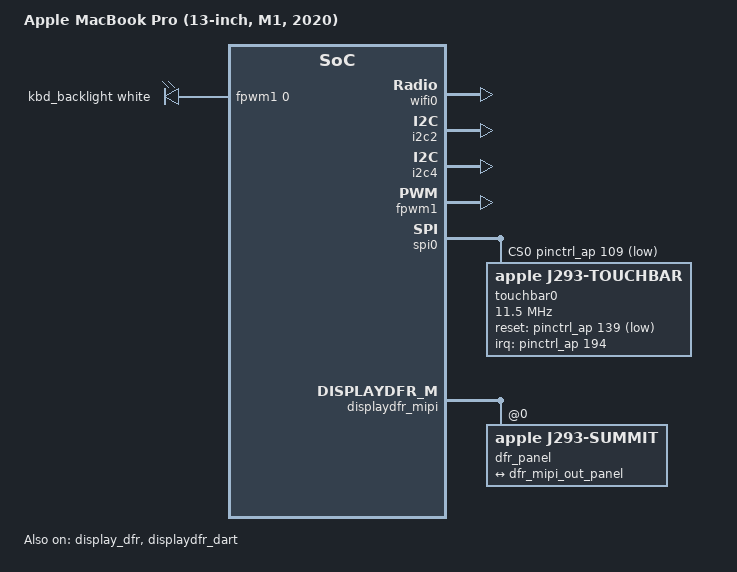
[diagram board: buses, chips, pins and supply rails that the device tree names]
// SPDX-License-Identifier: GPL-2.0+ OR MIT
/*
 * Apple MacBook Pro (13-inch, M1, 2020)
 *
 * target-type: J293
 *
 * Copyright The Asahi Linux Contributors
 */

/dts-v1/;

#include "t8103.dtsi"
#include "t8103-jxxx.dtsi"
#include <dt-bindings/leds/common.h>

/ {
	compatible = "apple,j293", "apple,t8103", "apple,arm-platform";
	model = "Apple MacBook Pro (13-inch, M1, 2020)";

	/*
	 * All of those are used by the bootloader to pass calibration
	 * blobs and other device-specific properties
	 */
	aliases {
		touchbar0 = &touchbar0;
	};

	led-controller {
		compatible = "pwm-leds";
		led-0 {
			pwms = <&fpwm1 0 40000>;
			label = "kbd_backlight";
			function = LED_FUNCTION_KBD_BACKLIGHT;
			color = <LED_COLOR_ID_WHITE>;
			max-brightness = <255>;
			default-state = "keep";
		};
	};
};

&bluetooth0 {
	brcm,board-type = "apple,honshu";
};

&wifi0 {
	brcm,board-type = "apple,honshu";
};

&i2c2 {
	status = "okay";
};

&i2c4 {
	status = "okay";
};

&fpwm1 {
	status = "okay";
};

&spi0 {
	cs-gpios = <&pinctrl_ap 109 GPIO_ACTIVE_LOW>;
	status = "okay";

	touchbar0: touchbar@0 {
		compatible = "apple,j293-touchbar";
		reg = <0>;
		spi-max-frequency = <11500000>;
		spi-cs-setup-delay-ns = <2000>;
		spi-cs-hold-delay-ns = <2000>;
		reset-gpios = <&pinctrl_ap 139 GPIO_ACTIVE_LOW>;
		interrupts-extended = <&pinctrl_ap 194 IRQ_TYPE_EDGE_FALLING>;
		firmware-name = "apple/dfrmtfw-j293.bin";
		touchscreen-size-x = <23045>;
		touchscreen-size-y = <640>;
		touchscreen-inverted-y;
	};
};

/*
 * The driver depends on boot loader initialized state which resets when this
 * power-domain is powered off. This happens on suspend or when the driver is
 * missing during boot. Mark the domain as always on until the driver can
 * handle this.
 */
&ps_dispdfr_be {
	apple,always-on;
};

&display_dfr {
	status = "okay";
};

&dfr_mipi_out {
	dfr_mipi_out_panel: endpoint@0 {
		reg = <0>;
		remote-endpoint = <&dfr_panel_in>;
	};
};

&displaydfr_mipi {
	status = "okay";
	#address-cells = <1>;
	#size-cells = <0>;

	dfr_panel: panel@0 {
		compatible = "apple,j293-summit", "apple,summit";
		reg = <0>;
		max-brightness = <255>;

		port {
			dfr_panel_in: endpoint {
				remote-endpoint = <&dfr_mipi_out_panel>;
			};
		};
	};
};

&displaydfr_dart {
	status = "okay";
};
